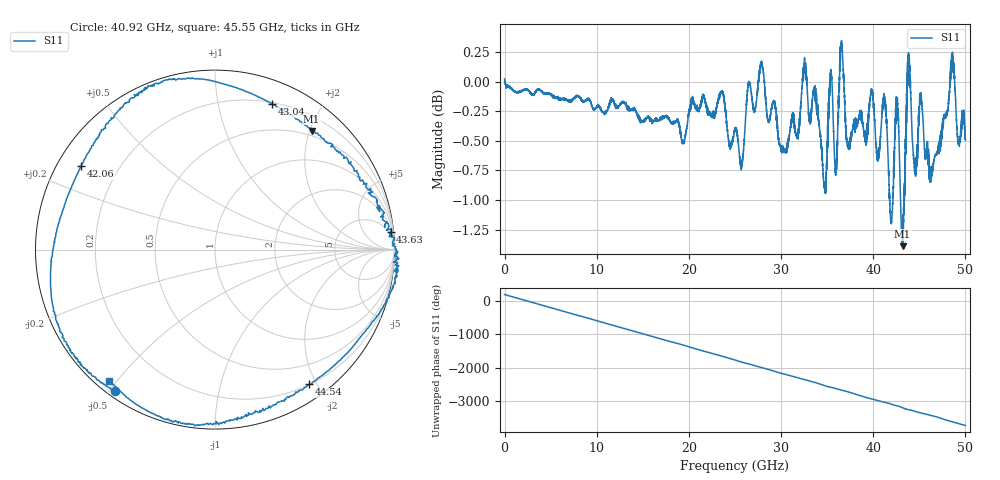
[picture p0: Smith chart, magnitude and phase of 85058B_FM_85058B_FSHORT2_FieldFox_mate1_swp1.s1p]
!Created with skrf (http://scikit-rf.org).
# Hz S RI R 50.0
!freq ReS11 ImS11
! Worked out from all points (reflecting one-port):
!   10000 points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, 5.3 MHz to 50 GHz, reference 50 ohm
!   lowest |S11| = -1.4 dB at 43.19 GHz (marker M1), VSWR 12.53, Z = 21.1 + j102 ohm
!   phase of S11 starts at 180 deg and turns -3896 deg over the sweep
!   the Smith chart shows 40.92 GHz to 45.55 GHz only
!   S11 on the Smith chart (normalised r, x): 40.92 GHz: 0.02, -0.52; 42.06 GHz: 0.07, +0.28; 43.04 GHz: 0.21, +1.44; 43.63 GHz: 3, +20; 44.54 GHz: 0.21, -1.90; 45.55 GHz: 0.04, -0.48
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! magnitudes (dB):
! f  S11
! 5.3 MHz  0.0
! 6.255 GHz  -0.1
! 12.51 GHz  -0.2
! 18.76 GHz  -0.3
! 25.01 GHz  -0.4
! 25.74 GHz  -0.7
! 27.88 GHz  0.1
! 30.02 GHz  -0.6
! 31.26 GHz  -0.3
! 32.59 GHz  0.1
! 34.74 GHz  -0.9
! 35.37 GHz  0.1
! 35.98 GHz  -0.7
! 36.58 GHz  0.3
! 37.51 GHz  -0.5
! 40.92 GHz  -0.3
! 42.06 GHz  -1.1
! 42.57 GHz  -0.2
! 43.04 GHz  -1.2
! 43.19 GHz  -1.4
! 43.63 GHz  -0.1
! 43.76 GHz  0.0
! 44.54 GHz  -0.8
! 45.14 GHz  -0.2
! 45.55 GHz  -0.5
! 46.36 GHz  -0.7
! 48.58 GHz  0.2
! 50 GHz  -0.5
